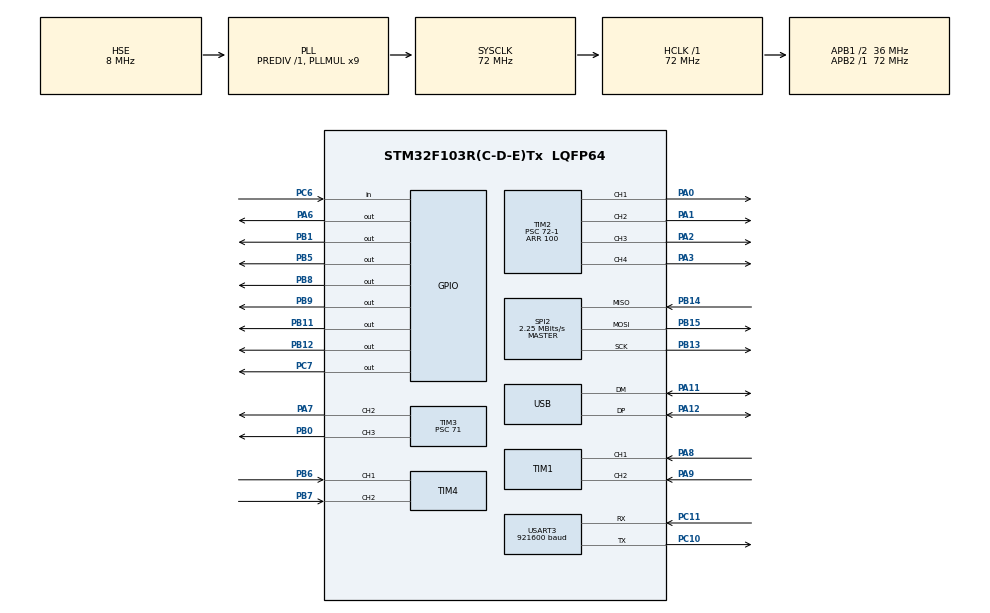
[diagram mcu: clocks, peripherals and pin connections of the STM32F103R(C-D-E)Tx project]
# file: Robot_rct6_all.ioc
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Dma.Request0=USART3_RX
Dma.Request1=USART3_TX
Dma.USART3_RX.0.Direction=DMA_PERIPH_TO_MEMORY
Dma.USART3_RX.0.Instance=DMA1_Channel3
Dma.USART3_RX.0.MemDataAlignment=DMA_MDATAALIGN_BYTE
Dma.USART3_RX.0.MemInc=DMA_MINC_ENABLE
Dma.USART3_RX.0.Mode=DMA_CIRCULAR
Dma.USART3_RX.0.PeriphDataAlignment=DMA_PDATAALIGN_BYTE
Dma.USART3_RX.0.PeriphInc=DMA_PINC_DISABLE
Dma.USART3_RX.0.Priority=DMA_PRIORITY_HIGH
Dma.USART3_TX.1.Direction=DMA_MEMORY_TO_PERIPH
Dma.USART3_TX.1.Instance=DMA1_Channel2
Dma.USART3_TX.1.MemDataAlignment=DMA_MDATAALIGN_BYTE
Dma.USART3_TX.1.MemInc=DMA_MINC_ENABLE
Dma.USART3_TX.1.Mode=DMA_NORMAL
Dma.USART3_TX.1.PeriphDataAlignment=DMA_PDATAALIGN_BYTE
Dma.USART3_TX.1.PeriphInc=DMA_PINC_DISABLE
Dma.USART3_TX.1.Priority=DMA_PRIORITY_HIGH
Mcu.Family=STM32F1
Mcu.Name=STM32F103R(C-D-E)Tx
Mcu.Package=LQFP64
NVIC.DMA1_Channel2_IRQn=true\:0\:0\:false\:false\:true\:false\:true\:true
NVIC.DMA1_Channel3_IRQn=true\:1\:0\:true\:false\:true\:false\:true\:true
NVIC.PriorityGroup=NVIC_PRIORITYGROUP_4
NVIC.TIM5_IRQn=true\:4\:0\:true\:false\:true\:true\:true\:true
NVIC.TIM6_IRQn=true\:0\:0\:true\:false\:true\:false\:true\:true
NVIC.TimeBase=TIM6_IRQn
NVIC.TimeBaseIP=TIM6
NVIC.USART3_IRQn=true\:3\:0\:true\:false\:true\:true\:true\:true
NVIC.USB_HP_CAN1_TX_IRQn=true\:2\:0\:true\:false\:true\:true\:true\:true
NVIC.USB_LP_CAN1_RX0_IRQn=true\:2\:0\:true\:false\:true\:true\:true\:true
PA0-WKUP.Signal=S_TIM2_CH1_ETR
PA1.Signal=S_TIM2_CH2
PA11.Mode=Device
PA11.Signal=USB_DM
PA12.Mode=Device
PA12.Signal=USB_DP
PA13.Mode=Serial_Wire
PA13.Signal=SYS_JTMS-SWDIO
PA14.Mode=Serial_Wire
PA14.Signal=SYS_JTCK-SWCLK
PA2.Signal=S_TIM2_CH3
PA3.Signal=S_TIM2_CH4
PA6.Signal=GPIO_Output
PA7.Signal=S_TIM3_CH2
PA8.Signal=S_TIM1_CH1
PA9.Signal=S_TIM1_CH2
PB0.Signal=S_TIM3_CH3
PB1.GPIO_Speed=GPIO_SPEED_FREQ_HIGH
PB1.Signal=GPIO_Output
PB11.GPIO_Speed=GPIO_SPEED_FREQ_HIGH
PB11.Signal=GPIO_Output
PB12.PinState=GPIO_PIN_SET
PB12.Signal=GPIO_Output
PB13.Mode=Full_Duplex_Master
PB13.Signal=SPI2_SCK
PB14.Mode=Full_Duplex_Master
PB14.Signal=SPI2_MISO
PB15.Mode=Full_Duplex_Master
PB15.Signal=SPI2_MOSI
PB5.GPIO_Speed=GPIO_SPEED_FREQ_HIGH
PB5.Signal=GPIO_Output
PB6.Signal=S_TIM4_CH1
PB7.Signal=S_TIM4_CH2
PB8.GPIO_Speed=GPIO_SPEED_FREQ_HIGH
PB8.Signal=GPIO_Output
PB9.GPIO_Speed=GPIO_SPEED_FREQ_HIGH
PB9.Signal=GPIO_Output
PC10.Mode=Asynchronous
PC10.Signal=USART3_TX
PC11.Mode=Asynchronous
PC11.Signal=USART3_RX
PC6.Signal=GPIO_Input
PC7.Signal=GPIO_Output
PD0-OSC_IN.Mode=HSE-External-Oscillator
PD0-OSC_IN.Signal=RCC_OSC_IN
PD1-OSC_OUT.Mode=HSE-External-Oscillator
PD1-OSC_OUT.Signal=RCC_OSC_OUT
ProjectManager.HeapSize=0x600
ProjectManager.StackSize=0x800
ProjectManager.TargetToolchain=STM32CubeIDE
RCC.AHBFreq_Value=72000000
RCC.APB1CLKDivider=RCC_HCLK_DIV2
RCC.APB1Freq_Value=36000000
RCC.APB1TimFreq_Value=72000000
RCC.APB2Freq_Value=72000000
RCC.APB2TimFreq_Value=72000000
RCC.HCLKFreq_Value=72000000
RCC.PLLMUL=RCC_PLL_MUL9
RCC.PLLSourceVirtual=RCC_PLLSOURCE_HSE
RCC.SYSCLKFreq_VALUE=72000000
RCC.SYSCLKSource=RCC_SYSCLKSOURCE_PLLCLK
RCC.USBFreq_Value=48000000
RCC.USBPrescaler=RCC_USBCLKSOURCE_PLL_DIV1_5
SH.S_TIM1_CH1.0=TIM1_CH1,Encoder_Interface
SH.S_TIM1_CH2.0=TIM1_CH2,Encoder_Interface
SH.S_TIM2_CH1_ETR.0=TIM2_CH1,PWM Generation1 CH1
SH.S_TIM2_CH2.0=TIM2_CH2,PWM Generation2 CH2
SH.S_TIM2_CH3.0=TIM2_CH3,PWM Generation3 CH3
SH.S_TIM2_CH4.0=TIM2_CH4,PWM Generation4 CH4
SH.S_TIM3_CH2.0=TIM3_CH2,PWM Generation2 CH2
SH.S_TIM3_CH3.0=TIM3_CH3,PWM Generation3 CH3
SH.S_TIM4_CH1.0=TIM4_CH1,Encoder_Interface
SH.S_TIM4_CH2.0=TIM4_CH2,Encoder_Interface
SPI2.BaudRatePrescaler=SPI_BAUDRATEPRESCALER_16
SPI2.CalculateBaudRate=2.25 MBits/s
SPI2.Direction=SPI_DIRECTION_2LINES
SPI2.Mode=SPI_MODE_MASTER
SPI2.VirtualType=VM_MASTER
TIM2.Channel-PWM\ Generation1\ CH1=TIM_CHANNEL_1
TIM2.Channel-PWM\ Generation2\ CH2=TIM_CHANNEL_2
TIM2.Channel-PWM\ Generation3\ CH3=TIM_CHANNEL_3
TIM2.Channel-PWM\ Generation4\ CH4=TIM_CHANNEL_4
TIM2.Period=100
TIM2.Prescaler=72-1
TIM3.Channel-PWM\ Generation2\ CH2=TIM_CHANNEL_2
TIM3.Channel-PWM\ Generation3\ CH3=TIM_CHANNEL_3
TIM3.Period=999
TIM3.Prescaler=71
TIM5.Period=49
TIM5.Prescaler=71
TIM7.Prescaler=71
USART3.BaudRate=921600
USART3.VirtualMode=VM_ASYNC
USB_DEVICE.CLASS_NAME_FS=CDC
USB_DEVICE.VirtualMode=Cdc
USB_DEVICE.VirtualModeFS=Cdc_FS
VP_SYS_VS_tim6.Mode=TIM6
VP_TIM2_VS_ClockSourceINT.Mode=Internal
VP_TIM3_VS_ClockSourceINT.Mode=Internal
VP_TIM5_VS_ClockSourceINT.Mode=Internal
VP_TIM7_VS_ClockSourceINT.Mode=Enable_Timer
VP_USB_DEVICE_VS_USB_DEVICE_CDC_FS.Mode=CDC_FS
board=custom

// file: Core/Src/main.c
/* USER CODE BEGIN Header */
/**
  ******************************************************************************
  * @file           : main.c
  * @brief          : Main program body
  ******************************************************************************
  * @attention
  *
  * Copyright (c) 2026 STMicroelectronics.
  * All rights reserved.
  *
  * This software is licensed under terms that can be found in the LICENSE file
  * in the root directory of this software component.
  * If no LICENSE file comes with this software, it is provided AS-IS.
  *
  ******************************************************************************
  */
/* USER CODE END Header */
#include "main.h"
#include "dma.h"
#include "spi.h"
#include "tim.h"
#include "usart.h"
#include "usb_device.h"
#include "gpio.h"

/* USER CODE BEGIN Includes */
#include"bsp_mpu6500_reg.h"
#include "control.h"
#include "mpu6500.h"
#include "protocol.h"
#include "servo.h"
#include"chassis.h"
#include"shooter.h"
#include"robot.h"
#include"gy53.h"

/* USER CODE END Includes */

void SystemClock_Config(void);

int main(void)
{

  /* MCU Configuration--------------------------------------------------------*/

  /* Reset of all peripherals, Initializes the Flash interface and the Systick. */
  HAL_Init();

  /* Configure the system clock */
  SystemClock_Config();

  /* USER CODE BEGIN SysInit */

  protocol_init();

  /* USER CODE END SysInit */

  /* Initialize all configured peripherals */
  MX_GPIO_Init();
  MX_DMA_Init();
  MX_TIM1_Init();
  MX_TIM4_Init();
  MX_TIM3_Init();
  MX_TIM7_Init();
  MX_USART3_UART_Init();
  MX_SPI2_Init();
  MX_USB_DEVICE_Init();
  MX_TIM2_Init();
  MX_TIM5_Init();
  /* USER CODE BEGIN 2 */
  if (!GY53_Init())
  {
      Error_Handler();
  }

  HAL_Delay(200);

     if (!MPU6500_Init())
     {
         Error_Handler();
     }

     HAL_Delay(200);       // 让传感器稳定

     if (!MPU_Calibrate())
     {
         Error_Handler();
     }
   // 此时小车必须保持完全静止
     //Gyro_Init();          // 陀螺仪参数初始化，后期可选择开启
     Servo_Init();            // 启动舵机软 PWM 定时器
     if (!Shooter_Init())     // 启动发射电机 PWM
     {
         Error_Handler();
     }
     if (!Control_Init())     // 总体控制参数初始化
     {
         Error_Handler();
     }
     Robot_Init();

     if (HAL_TIM_Base_Start_IT(&htim5) != HAL_OK)
     {
         Error_Handler();
     }
//int last_tick=0;
     uint32_t last_control_ms = HAL_GetTick();
  /* USER CODE END 2 */

  /* Infinite loop */
  /* USER CODE BEGIN WHILE */
  while (1)
  {
	  protocol_task();   // 解析电脑发来的协议帧
	  GY53_Task();
	  Shooter_Task();    // 推进发射状态机
	  Robot_Task();

	  uint32_t now = HAL_GetTick();
	  if ((uint32_t)(now - last_control_ms) >= CONTROL_PERIOD_MS)
	  {
	       last_control_ms = now;
	       Control_Loop();
	  }

	  /*Servo_SetAngle(0, 70);
	     HAL_Delay(200);

	  Servo_SetAngle(0, 50);
	     HAL_Delay(200);

	  Servo_SetAngle(0, 90);
	     HAL_Delay(200);*/

	  /* if (gy53_frame_ready)
	  {
	      printf("Distance: %d mm\r\n", gy53_distance_mm);
	      gy53_frame_ready = 0;
	  }//测距模块*/

  // 主循环可以安全使用 HAL_Delay，不会丢 DMA 数据

	 // printf("ok\r\n");
	//  HAL_Delay(1000);
	 /* short gx, gy, gz;
	        Get_MPU6500_GYRO(&gx, &gy, &gz);

	        printf("Gyro: X=%d, Y=%d, Z=%d\r\n", gx, gy, gz);

	        HAL_Delay(50); // 20Hz 打印//陀螺仪调试*/
	/* if(HAL_GetTick() - last_tick >= 500) {
	      HAL_GPIO_TogglePin(GPIOC,GPIO_PIN_7); // 假设板子有LED
	      last_tick = HAL_GetTick();
	  }*/

    /* USER CODE END WHILE */

  }
}

void SystemClock_Config(void)
{
  RCC_OscInitTypeDef RCC_OscInitStruct = {0};
  RCC_ClkInitTypeDef RCC_ClkInitStruct = {0};
  RCC_PeriphCLKInitTypeDef PeriphClkInit = {0};

  /** Initializes the RCC Oscillators according to the specified parameters
  * in the RCC_OscInitTypeDef structure.
  */
  RCC_OscInitStruct.OscillatorType = RCC_OSCILLATORTYPE_HSE;
  RCC_OscInitStruct.HSEState = RCC_HSE_ON;
  RCC_OscInitStruct.HSEPredivValue = RCC_HSE_PREDIV_DIV1;
  RCC_OscInitStruct.HSIState = RCC_HSI_ON;
  RCC_OscInitStruct.PLL.PLLState = RCC_PLL_ON;
  RCC_OscInitStruct.PLL.PLLSource = RCC_PLLSOURCE_HSE;
  RCC_OscInitStruct.PLL.PLLMUL = RCC_PLL_MUL9;
  if (HAL_RCC_OscConfig(&RCC_OscInitStruct) != HAL_OK)
  {
    Error_Handler();
  }

  /** Initializes the CPU, AHB and APB buses clocks
  */
  RCC_ClkInitStruct.ClockType = RCC_CLOCKTYPE_HCLK|RCC_CLOCKTYPE_SYSCLK
                              |RCC_CLOCKTYPE_PCLK1|RCC_CLOCKTYPE_PCLK2;
  RCC_ClkInitStruct.SYSCLKSource = RCC_SYSCLKSOURCE_PLLCLK;
  RCC_ClkInitStruct.AHBCLKDivider = RCC_SYSCLK_DIV1;
  RCC_ClkInitStruct.APB1CLKDivider = RCC_HCLK_DIV2;
  RCC_ClkInitStruct.APB2CLKDivider = RCC_HCLK_DIV1;

  if (HAL_RCC_ClockConfig(&RCC_ClkInitStruct, FLASH_LATENCY_2) != HAL_OK)
  {
    Error_Handler();
  }
  PeriphClkInit.PeriphClockSelection = RCC_PERIPHCLK_USB;
  PeriphClkInit.UsbClockSelection = RCC_USBCLKSOURCE_PLL_DIV1_5;
  if (HAL_RCCEx_PeriphCLKConfig(&PeriphClkInit) != HAL_OK)
  {
    Error_Handler();
  }
}

/* USER CODE BEGIN 4 */
int __io_putchar(int ch)
{
    /* USB CDC 由 protocol.c 独占，禁止 printf 原始字节插入二进制协议帧。 */
    return ch;
}

/* USER CODE END 4 */

void HAL_TIM_PeriodElapsedCallback(TIM_HandleTypeDef *htim)
{
  if (htim->Instance == TIM6)
  {
    HAL_IncTick();
  }
  /* USER CODE BEGIN Callback 1 */

  if (htim->Instance == TIM5)
  {
    Servo_TimerTick();
  }

  /* USER CODE END Callback 1 */
}

void Error_Handler(void)
{
  __disable_irq();
  while (1)
  {
  }
}
